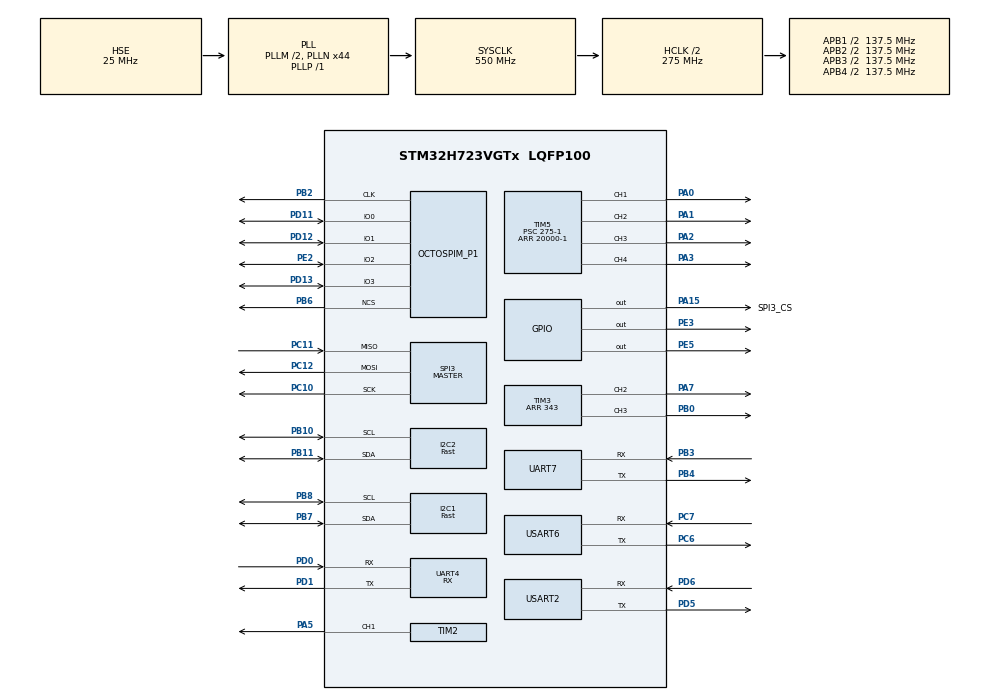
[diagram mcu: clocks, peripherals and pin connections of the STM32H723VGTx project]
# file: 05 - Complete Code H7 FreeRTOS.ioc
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CORTEX_M7.default_mode_Activation=1
Dma.I2C1_RX.2.Direction=DMA_PERIPH_TO_MEMORY
Dma.I2C1_RX.2.EventEnable=DISABLE
Dma.I2C1_RX.2.FIFOMode=DMA_FIFOMODE_DISABLE
Dma.I2C1_RX.2.Instance=DMA1_Stream0
Dma.I2C1_RX.2.MemDataAlignment=DMA_MDATAALIGN_BYTE
Dma.I2C1_RX.2.MemInc=DMA_MINC_ENABLE
Dma.I2C1_RX.2.Mode=DMA_NORMAL
Dma.I2C1_RX.2.PeriphDataAlignment=DMA_PDATAALIGN_BYTE
Dma.I2C1_RX.2.PeriphInc=DMA_PINC_DISABLE
Dma.I2C1_RX.2.Polarity=HAL_DMAMUX_REQ_GEN_RISING
Dma.I2C1_RX.2.Priority=DMA_PRIORITY_LOW
Dma.I2C1_RX.2.RequestNumber=1
Dma.I2C1_RX.2.SignalID=NONE
Dma.I2C1_RX.2.SyncEnable=DISABLE
Dma.I2C1_RX.2.SyncPolarity=HAL_DMAMUX_SYNC_NO_EVENT
Dma.I2C1_RX.2.SyncRequestNumber=1
Dma.I2C1_RX.2.SyncSignalID=NONE
Dma.I2C1_TX.3.Direction=DMA_MEMORY_TO_PERIPH
Dma.I2C1_TX.3.EventEnable=DISABLE
Dma.I2C1_TX.3.FIFOMode=DMA_FIFOMODE_DISABLE
Dma.I2C1_TX.3.Instance=DMA1_Stream1
Dma.I2C1_TX.3.MemDataAlignment=DMA_MDATAALIGN_BYTE
Dma.I2C1_TX.3.MemInc=DMA_MINC_ENABLE
Dma.I2C1_TX.3.Mode=DMA_NORMAL
Dma.I2C1_TX.3.PeriphDataAlignment=DMA_PDATAALIGN_BYTE
Dma.I2C1_TX.3.PeriphInc=DMA_PINC_DISABLE
Dma.I2C1_TX.3.Polarity=HAL_DMAMUX_REQ_GEN_RISING
Dma.I2C1_TX.3.Priority=DMA_PRIORITY_LOW
Dma.I2C1_TX.3.RequestNumber=1
Dma.I2C1_TX.3.SignalID=NONE
Dma.I2C1_TX.3.SyncEnable=DISABLE
Dma.I2C1_TX.3.SyncPolarity=HAL_DMAMUX_SYNC_NO_EVENT
Dma.I2C1_TX.3.SyncRequestNumber=1
Dma.I2C1_TX.3.SyncSignalID=NONE
Dma.I2C2_RX.6.Direction=DMA_PERIPH_TO_MEMORY
Dma.I2C2_RX.6.EventEnable=DISABLE
Dma.I2C2_RX.6.FIFOMode=DMA_FIFOMODE_DISABLE
Dma.I2C2_RX.6.Instance=DMA1_Stream6
Dma.I2C2_RX.6.MemDataAlignment=DMA_MDATAALIGN_BYTE
Dma.I2C2_RX.6.MemInc=DMA_MINC_ENABLE
Dma.I2C2_RX.6.Mode=DMA_NORMAL
Dma.I2C2_RX.6.PeriphDataAlignment=DMA_PDATAALIGN_BYTE
Dma.I2C2_RX.6.PeriphInc=DMA_PINC_DISABLE
Dma.I2C2_RX.6.Polarity=HAL_DMAMUX_REQ_GEN_RISING
Dma.I2C2_RX.6.Priority=DMA_PRIORITY_LOW
Dma.I2C2_RX.6.RequestNumber=1
Dma.I2C2_RX.6.SignalID=NONE
Dma.I2C2_RX.6.SyncEnable=DISABLE
Dma.I2C2_RX.6.SyncPolarity=HAL_DMAMUX_SYNC_NO_EVENT
Dma.I2C2_RX.6.SyncRequestNumber=1
Dma.I2C2_RX.6.SyncSignalID=NONE
Dma.I2C2_TX.7.Direction=DMA_MEMORY_TO_PERIPH
Dma.I2C2_TX.7.EventEnable=DISABLE
Dma.I2C2_TX.7.FIFOMode=DMA_FIFOMODE_DISABLE
Dma.I2C2_TX.7.Instance=DMA1_Stream7
Dma.I2C2_TX.7.MemDataAlignment=DMA_MDATAALIGN_BYTE
Dma.I2C2_TX.7.MemInc=DMA_MINC_ENABLE
Dma.I2C2_TX.7.Mode=DMA_NORMAL
Dma.I2C2_TX.7.PeriphDataAlignment=DMA_PDATAALIGN_BYTE
Dma.I2C2_TX.7.PeriphInc=DMA_PINC_DISABLE
Dma.I2C2_TX.7.Polarity=HAL_DMAMUX_REQ_GEN_RISING
Dma.I2C2_TX.7.Priority=DMA_PRIORITY_LOW
Dma.I2C2_TX.7.RequestNumber=1
Dma.I2C2_TX.7.SignalID=NONE
Dma.I2C2_TX.7.SyncEnable=DISABLE
Dma.I2C2_TX.7.SyncPolarity=HAL_DMAMUX_SYNC_NO_EVENT
Dma.I2C2_TX.7.SyncRequestNumber=1
Dma.I2C2_TX.7.SyncSignalID=NONE
Dma.Request0=SPI3_RX
Dma.Request1=SPI3_TX
Dma.Request2=I2C1_RX
Dma.Request3=I2C1_TX
Dma.Request4=TIM3_CH2
Dma.Request5=TIM3_CH3
Dma.Request6=I2C2_RX
Dma.Request7=I2C2_TX
Dma.SPI3_RX.0.Direction=DMA_PERIPH_TO_MEMORY
Dma.SPI3_RX.0.EventEnable=DISABLE
Dma.SPI3_RX.0.FIFOMode=DMA_FIFOMODE_DISABLE
Dma.SPI3_RX.0.Instance=DMA1_Stream2
Dma.SPI3_RX.0.MemDataAlignment=DMA_MDATAALIGN_BYTE
Dma.SPI3_RX.0.MemInc=DMA_MINC_ENABLE
Dma.SPI3_RX.0.Mode=DMA_NORMAL
Dma.SPI3_RX.0.PeriphDataAlignment=DMA_PDATAALIGN_BYTE
Dma.SPI3_RX.0.PeriphInc=DMA_PINC_DISABLE
Dma.SPI3_RX.0.Polarity=HAL_DMAMUX_REQ_GEN_RISING
Dma.SPI3_RX.0.Priority=DMA_PRIORITY_LOW
Dma.SPI3_RX.0.RequestNumber=1
Dma.SPI3_RX.0.SignalID=NONE
Dma.SPI3_RX.0.SyncEnable=DISABLE
Dma.SPI3_RX.0.SyncPolarity=HAL_DMAMUX_SYNC_NO_EVENT
Dma.SPI3_RX.0.SyncRequestNumber=1
Dma.SPI3_RX.0.SyncSignalID=NONE
Dma.SPI3_TX.1.Direction=DMA_MEMORY_TO_PERIPH
Dma.SPI3_TX.1.EventEnable=DISABLE
Dma.SPI3_TX.1.FIFOMode=DMA_FIFOMODE_DISABLE
Dma.SPI3_TX.1.Instance=DMA1_Stream3
Dma.SPI3_TX.1.MemDataAlignment=DMA_MDATAALIGN_BYTE
Dma.SPI3_TX.1.MemInc=DMA_MINC_ENABLE
Dma.SPI3_TX.1.Mode=DMA_NORMAL
Dma.SPI3_TX.1.PeriphDataAlignment=DMA_PDATAALIGN_BYTE
Dma.SPI3_TX.1.PeriphInc=DMA_PINC_DISABLE
Dma.SPI3_TX.1.Polarity=HAL_DMAMUX_REQ_GEN_RISING
Dma.SPI3_TX.1.Priority=DMA_PRIORITY_LOW
Dma.SPI3_TX.1.RequestNumber=1
Dma.SPI3_TX.1.SignalID=NONE
Dma.SPI3_TX.1.SyncEnable=DISABLE
Dma.SPI3_TX.1.SyncPolarity=HAL_DMAMUX_SYNC_NO_EVENT
Dma.SPI3_TX.1.SyncRequestNumber=1
Dma.SPI3_TX.1.SyncSignalID=NONE
Dma.TIM3_CH2.4.Direction=DMA_MEMORY_TO_PERIPH
Dma.TIM3_CH2.4.EventEnable=DISABLE
Dma.TIM3_CH2.4.FIFOMode=DMA_FIFOMODE_DISABLE
Dma.TIM3_CH2.4.Instance=DMA1_Stream4
Dma.TIM3_CH2.4.MemDataAlignment=DMA_MDATAALIGN_WORD
Dma.TIM3_CH2.4.MemInc=DMA_MINC_ENABLE
Dma.TIM3_CH2.4.Mode=DMA_NORMAL
Dma.TIM3_CH2.4.PeriphDataAlignment=DMA_PDATAALIGN_WORD
Dma.TIM3_CH2.4.PeriphInc=DMA_PINC_DISABLE
Dma.TIM3_CH2.4.Polarity=HAL_DMAMUX_REQ_GEN_RISING
Dma.TIM3_CH2.4.Priority=DMA_PRIORITY_LOW
Dma.TIM3_CH2.4.RequestNumber=1
Dma.TIM3_CH2.4.SignalID=NONE
Dma.TIM3_CH2.4.SyncEnable=DISABLE
Dma.TIM3_CH2.4.SyncPolarity=HAL_DMAMUX_SYNC_NO_EVENT
Dma.TIM3_CH2.4.SyncRequestNumber=1
Dma.TIM3_CH2.4.SyncSignalID=NONE
Dma.TIM3_CH3.5.Direction=DMA_MEMORY_TO_PERIPH
Dma.TIM3_CH3.5.EventEnable=DISABLE
Dma.TIM3_CH3.5.FIFOMode=DMA_FIFOMODE_DISABLE
Dma.TIM3_CH3.5.Instance=DMA1_Stream5
Dma.TIM3_CH3.5.MemDataAlignment=DMA_MDATAALIGN_WORD
Dma.TIM3_CH3.5.MemInc=DMA_MINC_ENABLE
Dma.TIM3_CH3.5.Mode=DMA_NORMAL
Dma.TIM3_CH3.5.PeriphDataAlignment=DMA_PDATAALIGN_WORD
Dma.TIM3_CH3.5.PeriphInc=DMA_PINC_DISABLE
Dma.TIM3_CH3.5.Polarity=HAL_DMAMUX_REQ_GEN_RISING
Dma.TIM3_CH3.5.Priority=DMA_PRIORITY_LOW
Dma.TIM3_CH3.5.RequestNumber=1
Dma.TIM3_CH3.5.SignalID=NONE
Dma.TIM3_CH3.5.SyncEnable=DISABLE
Dma.TIM3_CH3.5.SyncPolarity=HAL_DMAMUX_SYNC_NO_EVENT
Dma.TIM3_CH3.5.SyncRequestNumber=1
Dma.TIM3_CH3.5.SyncSignalID=NONE
FREERTOS.Tasks01=defaultTask,24,128,StartDefaultTask,Default,NULL,Dynamic,NULL,NULL;Task2,24,128,Task2_init,Default,NULL,Dynamic,NULL,NULL
FREERTOS.configUSE_NEWLIB_REENTRANT=1
I2C1.I2C_Speed_Mode=I2C_Fast
I2C1.Timing=0x00D049FB
I2C2.I2C_Speed_Mode=I2C_Fast
I2C2.Timing=0x00D049FB
Mcu.Family=STM32H7
Mcu.Name=STM32H723VGTx
Mcu.Package=LQFP100
NVIC.DMA1_Stream0_IRQn=true\:5\:0\:false\:false\:true\:true\:false\:true\:true
NVIC.DMA1_Stream1_IRQn=true\:5\:0\:false\:false\:true\:true\:false\:true\:true
NVIC.DMA1_Stream2_IRQn=true\:5\:0\:false\:false\:true\:true\:false\:true\:true
NVIC.DMA1_Stream3_IRQn=true\:5\:0\:false\:false\:true\:true\:false\:true\:true
NVIC.DMA1_Stream4_IRQn=true\:5\:0\:false\:false\:true\:true\:false\:true\:true
NVIC.DMA1_Stream5_IRQn=true\:5\:0\:false\:false\:true\:false\:false\:true\:true
NVIC.DMA1_Stream6_IRQn=true\:5\:0\:false\:false\:true\:true\:false\:true\:true
NVIC.DMA1_Stream7_IRQn=true\:5\:0\:false\:false\:true\:true\:false\:true\:true
NVIC.I2C1_ER_IRQn=true\:5\:0\:false\:false\:true\:true\:true\:true\:true
NVIC.I2C1_EV_IRQn=true\:5\:0\:false\:false\:true\:true\:true\:true\:true
NVIC.I2C2_ER_IRQn=true\:5\:0\:false\:false\:true\:true\:true\:true\:true
NVIC.I2C2_EV_IRQn=true\:5\:0\:false\:false\:true\:true\:true\:true\:true
NVIC.PriorityGroup=NVIC_PRIORITYGROUP_4
NVIC.SPI3_IRQn=true\:5\:0\:false\:false\:true\:true\:false\:true\:true
NVIC.TIM1_UP_IRQn=true\:15\:0\:false\:false\:true\:false\:false\:true\:true
NVIC.TIM3_IRQn=true\:5\:0\:false\:false\:true\:true\:true\:true\:true
NVIC.TimeBase=TIM1_UP_IRQn
NVIC.TimeBaseIP=TIM1
NVIC.UART4_IRQn=true\:5\:0\:false\:false\:true\:true\:true\:true\:true
NVIC.UART7_IRQn=true\:5\:0\:false\:false\:true\:true\:true\:true\:true
NVIC.USART6_IRQn=true\:5\:0\:false\:false\:true\:true\:true\:true\:true
OCTOSPI1.ChipSelectHighTime=2
OCTOSPI1.ClockMode=HAL_OSPI_CLOCK_MODE_3
OCTOSPI1.ClockPrescaler=3-1
OCTOSPI1.DeviceSize=23
OCTOSPI1.SampleShifting=HAL_OSPI_SAMPLE_SHIFTING_HALFCYCLE
PA0.Signal=S_TIM5_CH1
PA1.Signal=S_TIM5_CH2
PA15(JTDI).GPIO_Label=SPI3_CS
PA15(JTDI).PinState=GPIO_PIN_SET
PA15(JTDI).Signal=GPIO_Output
PA2.Signal=S_TIM5_CH3
PA3.Signal=S_TIM5_CH4
PA5.Signal=S_TIM2_CH1_ETR
PA7.Signal=S_TIM3_CH2
PB0.Signal=S_TIM3_CH3
PB10.Mode=I2C
PB10.Signal=I2C2_SCL
PB11.Mode=I2C
PB11.Signal=I2C2_SDA
PB2.Mode=O1_P1_CLK
PB2.Signal=OCTOSPIM_P1_CLK
PB3(JTDO/TRACESWO).Mode=Asynchronous
PB3(JTDO/TRACESWO).Signal=UART7_RX
PB4(NJTRST).Mode=Asynchronous
PB4(NJTRST).Signal=UART7_TX
PB6.Mode=OCTOSPI1_Port1_NCS
PB6.Signal=OCTOSPIM_P1_NCS
PB7.Mode=I2C
PB7.Signal=I2C1_SDA
PB8.Mode=I2C
PB8.Signal=I2C1_SCL
PC10.Mode=Full_Duplex_Master
PC10.Signal=SPI3_SCK
PC11.Mode=Full_Duplex_Master
PC11.Signal=SPI3_MISO
PC12.Mode=Full_Duplex_Master
PC12.Signal=SPI3_MOSI
PC6.Mode=Asynchronous
PC6.Signal=USART6_TX
PC7.Mode=Asynchronous
PC7.Signal=USART6_RX
PD0.Mode=Asynchronous
PD0.Signal=UART4_RX
PD1.Mode=Asynchronous
PD1.Signal=UART4_TX
PD11.Mode=OCTOSPI1_IOL_Port1L
PD11.Signal=OCTOSPIM_P1_IO0
PD12.Mode=OCTOSPI1_IOL_Port1L
PD12.Signal=OCTOSPIM_P1_IO1
PD13.Mode=OCTOSPI1_IOL_Port1L
PD13.Signal=OCTOSPIM_P1_IO3
PD5.Mode=Asynchronous
PD5.Signal=USART2_TX
PD6.Mode=Asynchronous
PD6.Signal=USART2_RX
PE2.Mode=OCTOSPI1_IOL_Port1L
PE2.Signal=OCTOSPIM_P1_IO2
PE3.Signal=GPIO_Output
PE5.Signal=GPIO_Output
PH0-OSC_IN.Mode=HSE-External-Oscillator
PH0-OSC_IN.Signal=RCC_OSC_IN
PH1-OSC_OUT.Mode=HSE-External-Oscillator
PH1-OSC_OUT.Signal=RCC_OSC_OUT
ProjectManager.HeapSize=0x200
ProjectManager.StackSize=0x400
ProjectManager.TargetToolchain=STM32CubeIDE
RCC.ADCFreq_Value=50390625
RCC.APB1Freq_Value=137500000
RCC.APB2Freq_Value=137500000
RCC.APB3Freq_Value=137500000
RCC.APB4Freq_Value=137500000
RCC.CortexFreq_Value=550000000
RCC.D1PPRE=RCC_APB3_DIV2
RCC.D2PPRE1=RCC_APB1_DIV2
RCC.D2PPRE2=RCC_APB2_DIV2
RCC.D3PPRE=RCC_APB4_DIV2
RCC.DIVM1=2
RCC.DIVN1=44
RCC.DIVP1=1
RCC.DIVQ1=3
RCC.HCLKFreq_Value=275000000
RCC.HPRE=RCC_HCLK_DIV2
RCC.PLL2FRACN=0
RCC.PLL3FRACN=0
RCC.PLLFRACN=0
RCC.PLLSourceVirtual=RCC_PLLSOURCE_HSE
RCC.SYSCLKFreq_VALUE=550000000
RCC.SYSCLKSource=RCC_SYSCLKSOURCE_PLLCLK
RCC.USBFreq_Value=183333333.33333334
SH.S_TIM2_CH1_ETR.0=TIM2_CH1,PWM Generation1 CH1
SH.S_TIM3_CH2.0=TIM3_CH2,PWM Generation2 CH2
SH.S_TIM3_CH3.0=TIM3_CH3,PWM Generation3 CH3
SH.S_TIM5_CH1.0=TIM5_CH1,PWM Generation1 CH1
SH.S_TIM5_CH2.0=TIM5_CH2,PWM Generation2 CH2
SH.S_TIM5_CH3.0=TIM5_CH3,PWM Generation3 CH3
SH.S_TIM5_CH4.0=TIM5_CH4,PWM Generation4 CH4
SPI3.BaudRatePrescaler=SPI_BAUDRATEPRESCALER_8
SPI3.CLKPhase=SPI_PHASE_2EDGE
SPI3.CLKPolarity=SPI_POLARITY_HIGH
SPI3.CalculateBaudRate=22.916666 MBits/s
SPI3.DataSize=SPI_DATASIZE_8BIT
SPI3.Direction=SPI_DIRECTION_2LINES
SPI3.Mode=SPI_MODE_MASTER
SPI3.VirtualType=VM_MASTER
TIM2.AutoReloadPreload=TIM_AUTORELOAD_PRELOAD_ENABLE
TIM2.Channel-PWM\ Generation1\ CH1=TIM_CHANNEL_1
TIM2.OCFastMode_PWM-PWM\ Generation1\ CH1=TIM_OCFAST_ENABLE
TIM2.Period=249
TIM2.Prescaler=546
TIM3.AutoReloadPreload=TIM_AUTORELOAD_PRELOAD_ENABLE
TIM3.Channel-PWM\ Generation2\ CH2=TIM_CHANNEL_2
TIM3.Channel-PWM\ Generation3\ CH3=TIM_CHANNEL_3
TIM3.Period=343
TIM5.AutoReloadPreload=TIM_AUTORELOAD_PRELOAD_ENABLE
TIM5.Channel-PWM\ Generation1\ CH1=TIM_CHANNEL_1
TIM5.Channel-PWM\ Generation2\ CH2=TIM_CHANNEL_2
TIM5.Channel-PWM\ Generation3\ CH3=TIM_CHANNEL_3
TIM5.Channel-PWM\ Generation4\ CH4=TIM_CHANNEL_4
TIM5.OCFastMode_PWM-PWM\ Generation1\ CH1=TIM_OCFAST_ENABLE
TIM5.OCFastMode_PWM-PWM\ Generation2\ CH2=TIM_OCFAST_ENABLE
TIM5.OCFastMode_PWM-PWM\ Generation3\ CH3=TIM_OCFAST_ENABLE
TIM5.OCFastMode_PWM-PWM\ Generation4\ CH4=TIM_OCFAST_ENABLE
TIM5.Period=20000-1
TIM5.Prescaler=275-1
TIM5.Pulse-PWM\ Generation1\ CH1=1000
TIM5.Pulse-PWM\ Generation2\ CH2=1000
TIM5.Pulse-PWM\ Generation3\ CH3=1000
TIM5.Pulse-PWM\ Generation4\ CH4=1000
UART4.Mode=MODE_RX
USART2.VirtualMode-Asynchronous=VM_ASYNC
USART6.VirtualMode=VM_ASYNC
VP_FREERTOS_VS_CMSIS_V2.Mode=CMSIS_V2
VP_MEMORYMAP_VS_MEMORYMAP.Mode=CurAppReg
VP_OCTOSPI1_VS_octo.Mode=octo_mode
VP_SYS_VS_tim1.Mode=TIM1
VP_TIM2_VS_ClockSourceINT.Mode=Internal
VP_TIM3_VS_ClockSourceINT.Mode=Internal
VP_TIM5_VS_ClockSourceINT.Mode=Internal
board=custom

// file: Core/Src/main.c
/* USER CODE BEGIN Header */
/**
  ******************************************************************************
  * @file           : main.c
  * @brief          : Main program body
  ******************************************************************************
  * @attention
  *
  * Copyright (c) 2025 STMicroelectronics.
  * All rights reserved.
  *
  * This software is licensed under terms that can be found in the LICENSE file
  * in the root directory of this software component.
  * If no LICENSE file comes with this software, it is provided AS-IS.
  *
  ******************************************************************************
  */
/* USER CODE END Header */
#include "main.h"
#include "cmsis_os.h"
#include "dma.h"
#include "i2c.h"
#include "octospi.h"
#include "spi.h"
#include "tim.h"
#include "usart.h"
#include "gpio.h"

/* USER CODE BEGIN Includes */
#include <stdio.h>
#include "../ICM42688P/icm42688p.h"
#include "hmc5883l.h"
#include "../LED/MAIN_BOARD_RGB/ws2812.h"
#include "targets.h"
#include "../BUZZER/buzzer.h"
#include "../EEPROM/eeprom.h"
#include "../PID/Double Loop PID/pid_controller.h"
#include "../RECEIVER/FS-iA6B/FS-iA6B.h"
/* USER CODE END Includes */

/* USER CODE BEGIN PTD */

/* *********** USART6 printf function code ************ */

int _write(int file, char* p, int len)
{
    for (int i = 0; i < len; i++) {
        while (!LL_USART_IsActiveFlag_TXE(USART6)) {
            if (LL_USART_IsActiveFlag_ORE(USART6) || LL_USART_IsActiveFlag_FE(USART6)) {
                LL_USART_ClearFlag_ORE(USART6);
                LL_USART_ClearFlag_FE(USART6);
                return -1; // Indicate error
            }
        }
        LL_USART_TransmitData8(USART6, *(p + i));
    }
    while (!LL_USART_IsActiveFlag_TC(USART6)) {}
    return len;
}

/* *********** USART6 printf function code ************ */

/* USER CODE END PTD */

/* USER CODE BEGIN PD */

extern SPI_HandleTypeDef hspi3;
ICM42688P_HandleTypeDef icm;
ICM42688P_Data_t icmData;

extern I2C_HandleTypeDef hi2c1;  // Ensure hi2c1 is initialized by CubeMX
HMC5883L_Data_t magData;

volatile uint8_t sensors_ready = 0;
extern TIM_HandleTypeDef htim3;

/* USER CODE END PD */

/* USER CODE BEGIN PM */
unsigned char failsafe_flag = 0;
/* USER CODE END PM */

/* USER CODE BEGIN PV */

extern uint8_t uart6_rx_flag;
extern uint8_t uart6_rx_data;
extern uint8_t uart4_rx_flag;
extern uint8_t uart4_rx_data;
extern uint8_t ibus_rx_buf[32];
extern uint8_t ibus_rx_cplt_flag;
extern uint8_t uart7_rx_data;
uint8_t telemetry_tx_buf[20];

extern DMA_HandleTypeDef WS2812_DMA; // DMA handle
extern volatile uint8_t data_sent_flag; // Flag from ws2812.c

void eeprom_startup(void);

float eeprom_pid_read[3];
float eeprom_gyro_read[3];
float eeprom_accel_read[3];
float eeprom_mag_read[3];
DualPID_t eeprom_roll_pid_read;
DualPID_t eeprom_pitch_pid_read;
PID_t eeprom_yaw_rate_pid_read;

AircraftLights_t aircraft_lights;

RuntimeDualPID_t roll_pid;
RuntimeDualPID_t pitch_pid;
RuntimePID_t yaw_rate_pid;

HAL_StatusTypeDef status;
float pressure, temperature, altitude;
float ground_pressure = 101325.0f;

unsigned char motor_arming_flag = 0;
unsigned short iBus_SwA_Prev = 0;
unsigned short iBus_rx_cnt = 0;
uint16_t ccr[4];
unsigned short ccr1, ccr2, ccr3, ccr4;

/* USER CODE END PV */

void SystemClock_Config(void);
static void MPU_Config(void);
void MX_FREERTOS_Init(void);
/* USER CODE BEGIN PFP */

int Is_iBus_Throttle_Min(void);
int Is_iBus_Throttle_Armed(void);
void ESC_Calibration(void);
int Is_iBus_Received(void);

/* USER CODE END PFP */

int main(void)
{

  /* MPU Configuration--------------------------------------------------------*/
  MPU_Config();

  /* MCU Configuration--------------------------------------------------------*/

  /* Reset of all peripherals, Initializes the Flash interface and the Systick. */
  HAL_Init();

  /* Configure the system clock */
  SystemClock_Config();

  /* Initialize all configured peripherals */
  MX_GPIO_Init();
  MX_DMA_Init();
  MX_USART6_UART_Init();
  MX_SPI3_Init();
  MX_I2C1_Init();
  MX_TIM3_Init();
  MX_TIM2_Init();
  MX_OCTOSPI1_Init();
  MX_I2C2_Init();
  MX_UART4_Init();
  MX_TIM5_Init();
  MX_UART7_Init();
  MX_USART2_UART_Init();
  /* USER CODE BEGIN 2 */

  StartupTone();

  LL_USART_EnableIT_RXNE(USART6);
  LL_USART_EnableIT_RXNE_RXFNE(UART4);

  HAL_Delay(500);

  eeprom_startup();

  // Initialize PID controllers
  pid_init(&roll_pid, &pitch_pid, &yaw_rate_pid,
		  &eeprom_roll_pid_read, &eeprom_pitch_pid_read, &eeprom_yaw_rate_pid_read);

  /* *********** ESC Startup Calibration ************ */
  HAL_Delay(3000);
  HAL_TIM_PWM_Start(&htim5, TIM_CHANNEL_1);
  HAL_TIM_PWM_Start(&htim5, TIM_CHANNEL_2);
  HAL_TIM_PWM_Start(&htim5, TIM_CHANNEL_3);
  HAL_TIM_PWM_Start(&htim5, TIM_CHANNEL_4);
  /* *********** ESC Startup Calibration END ************ */

  /* *********** iBus Calibration Check ************ */
  while (Is_iBus_Received() == 0) {
	  Buzzer_On(3000);
	  HAL_Delay(200);
	  Buzzer_Off();
	  HAL_Delay(200);
  }
  if (iBus.SwC == 2000) {
	  Buzzer_On(1500);
	  HAL_Delay(200);
	  Buzzer_On(2000);
	  HAL_Delay(200);
	  Buzzer_On(1500);
	  HAL_Delay(200);
	  Buzzer_On(2000);
	  HAL_Delay(200);
	  Buzzer_Off();
	  ESC_Calibration();
	  while (iBus.SwC != 1000) {
		  Is_iBus_Received();
		  Buzzer_On(1500);
		  HAL_Delay(200);
		  Buzzer_On(2000);
		  HAL_Delay(200);
		  Buzzer_Off();
	  }
  }
  /* *********** iBus Calibration Check END ************ */

  /* *********** iBus Throttle Check ************ */
  while (Is_iBus_Throttle_Min() == 0 || iBus.SwA == 2000) {
	  Buzzer_On(343);
	  HAL_Delay(70);
	  Buzzer_Off();
	  HAL_Delay(70);
  }
  Buzzer_On(1092);
  HAL_Delay(100);
  Buzzer_On(592);
  HAL_Delay(100);
  Buzzer_On(292);
  HAL_Delay(100);
  Buzzer_Off();
  /* *********** iBus Throttle Check END ************ */

//  LL_TIM_EnableCounter(TIM7);
//  LL_TIM_EnableIT_UPDATE(TIM7);

  /* === Initialize sensors here === */

  HMC5883L_Init();
  uint8_t hmc_id = HMC5883L_ReadReg(HMC5883L_ID_A);
  printf("HMC5883L ID: %c\n", hmc_id);

  WS2812_Init(&htim3);

  /* USER CODE END 2 */

  /* Init scheduler */
  osKernelInitialize();  /* Call init function for freertos objects (in cmsis_os2.c) */
  MX_FREERTOS_Init();

  /* Start scheduler */
  osKernelStart();

  /* We should never get here as control is now taken by the scheduler */

  /* Infinite loop */
  while (1)
  {

  }
}

void SystemClock_Config(void)
{
  RCC_OscInitTypeDef RCC_OscInitStruct = {0};
  RCC_ClkInitTypeDef RCC_ClkInitStruct = {0};

  /** Supply configuration update enable
  */
  HAL_PWREx_ConfigSupply(PWR_LDO_SUPPLY);

  /** Configure the main internal regulator output voltage
  */
  __HAL_PWR_VOLTAGESCALING_CONFIG(PWR_REGULATOR_VOLTAGE_SCALE0);

  while(!__HAL_PWR_GET_FLAG(PWR_FLAG_VOSRDY)) {}

  /** Initializes the RCC Oscillators according to the specified parameters
  * in the RCC_OscInitTypeDef structure.
  */
  RCC_OscInitStruct.OscillatorType = RCC_OSCILLATORTYPE_HSE;
  RCC_OscInitStruct.HSEState = RCC_HSE_ON;
  RCC_OscInitStruct.PLL.PLLState = RCC_PLL_ON;
  RCC_OscInitStruct.PLL.PLLSource = RCC_PLLSOURCE_HSE;
  RCC_OscInitStruct.PLL.PLLM = 2;
  RCC_OscInitStruct.PLL.PLLN = 44;
  RCC_OscInitStruct.PLL.PLLP = 1;
  RCC_OscInitStruct.PLL.PLLQ = 3;
  RCC_OscInitStruct.PLL.PLLR = 2;
  RCC_OscInitStruct.PLL.PLLRGE = RCC_PLL1VCIRANGE_3;
  RCC_OscInitStruct.PLL.PLLVCOSEL = RCC_PLL1VCOWIDE;
  RCC_OscInitStruct.PLL.PLLFRACN = 0;
  if (HAL_RCC_OscConfig(&RCC_OscInitStruct) != HAL_OK)
  {
    Error_Handler();
  }

  /** Initializes the CPU, AHB and APB buses clocks
  */
  RCC_ClkInitStruct.ClockType = RCC_CLOCKTYPE_HCLK|RCC_CLOCKTYPE_SYSCLK
                              |RCC_CLOCKTYPE_PCLK1|RCC_CLOCKTYPE_PCLK2
                              |RCC_CLOCKTYPE_D3PCLK1|RCC_CLOCKTYPE_D1PCLK1;
  RCC_ClkInitStruct.SYSCLKSource = RCC_SYSCLKSOURCE_PLLCLK;
  RCC_ClkInitStruct.SYSCLKDivider = RCC_SYSCLK_DIV1;
  RCC_ClkInitStruct.AHBCLKDivider = RCC_HCLK_DIV2;
  RCC_ClkInitStruct.APB3CLKDivider = RCC_APB3_DIV2;
  RCC_ClkInitStruct.APB1CLKDivider = RCC_APB1_DIV2;
  RCC_ClkInitStruct.APB2CLKDivider = RCC_APB2_DIV2;
  RCC_ClkInitStruct.APB4CLKDivider = RCC_APB4_DIV2;

  if (HAL_RCC_ClockConfig(&RCC_ClkInitStruct, FLASH_LATENCY_3) != HAL_OK)
  {
    Error_Handler();
  }
}

/* USER CODE BEGIN 4 */

void send_deftask(void)
{
	printf("Hello from deftask\r\n");
//	HAL_GPIO_TogglePin(GPIOE, GPIO_PIN_3);
}

void send_task2(void)
{
//	HAL_GPIO_TogglePin(GPIOx, GPIO_Pin)
}

void send_task3(void)
{
	printf("Hello from Task3\r\n");
}

void run_imu(void) {

	if (!sensors_ready) return;

    // Read sensor data directly
    ICM42688P_ReadData(&icm, &icmData);

    // Print data (or send to other tasks / filters)
    printf("Accel: %.2f %.2f %.2f | Gyro: %.2f %.2f %.2f | Temp: %.2f\r\n",
           icmData.accel[0], icmData.accel[1], icmData.accel[2],
           icmData.gyro[0], icmData.gyro[1], icmData.gyro[2],
           icmData.temperature);
}

void run_mag(void)
{

	if (!sensors_ready) return;

    HMC5883L_ProcessMagData();   // Reads raw data into hmc_data
    Compass_Data_t *compass = HMC5883L_GetCompassData();

    printf("Mag: %.2f %.2f %.2f | Heading: %.2f°\r\n",
           hmc_data.mag_x, hmc_data.mag_y, hmc_data.mag_z,
           compass->heading);
}

void sensor_init(void){
    // === Initialize ICM42688P ===
	ICM42688P_Init(&icm, &hspi3);
	printf("ICM42688P initialization called.\r\n");

    // === Initialize HMC5883L ===
    HMC5883L_Init();
    uint8_t hmc_id = HMC5883L_ReadReg(HMC5883L_ID_A);
    printf("HMC5883L ID: %c\r\n", hmc_id);

    WS2812_Init(&WS2812_TIMER);

    printf("Sensor initialization complete. Deleting InitTask...\r\n");

    sensors_ready = 1;

    system_startup();

}

void system_startup(void) {

	while (Is_iBus_Throttle_Armed() == 0) {
//		calibration_task();
//		if (is_cmd_mode()) {
//			continue;
//		}

	}

	/* *********** iBus Throttle Check ************ */
	while (Is_iBus_Throttle_Min() == 0 || iBus.SwA != 2000) {
		Buzzer_On(1200);
		HAL_Delay(300);
		Buzzer_Off();
		HAL_Delay(70);
	}
	Buzzer_On(1092);
	HAL_Delay(100);
	Buzzer_On(592);
	HAL_Delay(100);
	Buzzer_On(292);
	HAL_Delay(100);
	Buzzer_Off();
	/* *********** iBus Throttle Check END ************ */

}

void eeprom_startup(void){

	if (EEPROM_Init() != W25Qxx_OK) {
		printf("EEPROM Init Failed\r\n");
		while(1)
		{
			Buzzer_On(500);
			HAL_Delay(200);
			Buzzer_Off();
			HAL_Delay(200);
			Buzzer_On(500);
			HAL_Delay(200);
			Buzzer_Off();
			HAL_Delay(200);
		}
		Error_Handler();
	}

	DroneConfig_t config;

	printf("================= Connecting to EEPROM =================\n"
			"\r\n");

	if (EEPROM_ReadConfig(&config) == W25Qxx_OK) {
		printf("Config Loaded: Flight Mode %d, PID P: %.2f\r\n",
				config.flight_mode, config.pid[0]);
	} else {
		printf("No valid config found, loading defaults\r\n");
		DroneConfig_t default_config = {
				.accel_cal = {0.030256f, -0.026638f, -0.122559f},
				.gyro_cal = {0.016646f, 0.173536f, -0.355303f},
				.mag_cal = {1.50f, -1.50f, 0.50f},
				.pid = {1.0f, 0.1f, 0.5f},
				.flight_mode = 0,
				.gps_lat = 0.0f,
				.gps_lon = 0.0f,
				.gps_alt = 0.0f,
				.roll_pid = {
						.out = {0.62f, 0.01f, 0.10f},
						.in = {0.30f, 0.07f, 0.010f}
				},
				.pitch_pid = {
						.out = {0.62f, 0.01f, 0.10f},
						.in = {0.30f, 0.07f, 0.010f}
				},
				.yaw_rate_pid = {0.2f, 0.01f, 0.003f},
				.lights = {
						.rgb = {{255, 0, 0}, {0, 255, 0}, {0, 0, 255}, {255, 255, 255}},
						.mode = 0
				},
				.crc = 0
		};
		default_config.crc = CalculateCRC32((uint8_t*)&default_config, sizeof(DroneConfig_t) - sizeof(uint32_t));
		if (EEPROM_WriteConfig(&default_config) != W25Qxx_OK) {
			printf("Failed to write default config\r\n");
			Error_Handler();
		}
		printf("Default config written and verified\r\n");
	}

	if (EEPROM_GetPID(eeprom_pid_read) == W25Qxx_OK) {
		printf("EEPROM PID read: P=%.2f, I=%.2f, D=%.2f\r\n",
				eeprom_pid_read[0], eeprom_pid_read[1], eeprom_pid_read[2]);
	} else {
		printf("Failed to read PID\r\n");
	}

	if (EEPROM_GetGyroCalibration(eeprom_gyro_read) == W25Qxx_OK) {
		printf("EEPROM Gyro read: X=%.2f, Y=%.2f, Z=%.2f\r\n",
				eeprom_gyro_read[0], eeprom_gyro_read[1], eeprom_gyro_read[2]);
	} else {
		printf("Failed to read EEPROM Gyro Data\r\n");
	}

	if (EEPROM_GetAccelCalibration(eeprom_accel_read) == W25Qxx_OK) {
		printf("EEPROM Accel read: X=%.2f, Y=%.2f, Z=%.2f\r\n",
				eeprom_accel_read[0], eeprom_accel_read[1], eeprom_accel_read[2]);
	} else {
		printf("Failed to read EEPROM Accel Data\r\n");
	}

	if (EEPROM_GetMagCalibration(eeprom_mag_read) == W25Qxx_OK) {
		printf("EEPROM Mag read: X=%.2f, Y=%.2f, Z=%.2f\r\n",
				eeprom_mag_read[0], eeprom_mag_read[1], eeprom_mag_read[2]);
	} else {
		printf("Failed to read EEPROM Mag Data\r\n");
	}

	if (EEPROM_GetRollPID(&eeprom_roll_pid_read) == W25Qxx_OK) {
		printf("Roll PID: Out P=%.3f, I=%.3f, D=%.3f, In P=%.3f, I=%.3f, D=%.3f\r\n",
				eeprom_roll_pid_read.out.kp, eeprom_roll_pid_read.out.ki, eeprom_roll_pid_read.out.kd,
				eeprom_roll_pid_read.in.kp, eeprom_roll_pid_read.in.ki, eeprom_roll_pid_read.in.kd);
	} else {
		printf("Failed to read Roll PID\r\n");
	}

	if (EEPROM_GetPitchPID(&eeprom_pitch_pid_read) == W25Qxx_OK) {
		printf("Pitch PID: Out P=%.3f, I=%.3f, D=%.3f, In P=%.3f, I=%.3f, D=%.3f\r\n",
				eeprom_pitch_pid_read.out.kp, eeprom_pitch_pid_read.out.ki, eeprom_pitch_pid_read.out.kd,
				eeprom_pitch_pid_read.in.kp, eeprom_pitch_pid_read.in.ki, eeprom_pitch_pid_read.in.kd);
	} else {
		printf("Failed to read Pitch PID\r\n");
	}

	if (EEPROM_GetYawRatePID(&eeprom_yaw_rate_pid_read) == W25Qxx_OK) {
		printf("Yaw Rate PID: P=%.3f, I=%.3f, D=%.3f\r\n",
				eeprom_yaw_rate_pid_read.kp, eeprom_yaw_rate_pid_read.ki, eeprom_yaw_rate_pid_read.kd);
	} else {
		printf("Failed to read Yaw Rate PID\r\n");
	}

	if (EEPROM_GetAircraftLights(&aircraft_lights) == W25Qxx_OK) {
		printf("Lights: LED1(R=%d,G=%d,B=%d), LED2(R=%d,G=%d,B=%d), LED3(R=%d,G=%d,B=%d), LED4(R=%d,G=%d,B=%d), Mode=%d\r\n",
				aircraft_lights.rgb[0][0], aircraft_lights.rgb[0][1], aircraft_lights.rgb[0][2],
				aircraft_lights.rgb[1][0], aircraft_lights.rgb[1][1], aircraft_lights.rgb[1][2],
				aircraft_lights.rgb[2][0], aircraft_lights.rgb[2][1], aircraft_lights.rgb[2][2],
				aircraft_lights.rgb[3][0], aircraft_lights.rgb[3][1], aircraft_lights.rgb[3][2],
				aircraft_lights.mode);
	} else {
		printf("Failed to read Aircraft Lights\r\n");
	}

	printf("\r\n"
			"================= EEPROM Data Fetched =================\n"
			"\r\n");

}

int Is_iBus_Throttle_Min(void) {
    if (ibus_rx_cplt_flag == 1) {
        ibus_rx_cplt_flag = 0;
        if (iBus_Check_CHKSUM(&ibus_rx_buf[0], 32) == 1) {
            iBus_Parsing(&ibus_rx_buf[0], &iBus);
            if (iBus.LV < 1010)
                return 1;
        }
    }
    return 0;
}

void mixer_run(void) {

	// Motor mixing
	if (motor_arming_flag == 1 && failsafe_flag == 0) {
//		motor_mixing(roll_out, pitch_out, yaw_out, throttle, ccr);

		ccr1 = 1050 + ((iBus.LV - 1000) * 950) / 1000;
		ccr2 = 1050 + ((iBus.LV - 1000) * 950) / 1000;
		ccr3 = 1050 + ((iBus.LV - 1000) * 950) / 1000;
		ccr4 = 1050 + ((iBus.LV - 1000) * 950) / 1000;

		TIM5->CCR1 = ccr1;
		TIM5->CCR2 = ccr2;
		TIM5->CCR3 = ccr3;
		TIM5->CCR4 = ccr4;
	} else {
		TIM5->CCR1 = 1000;
		TIM5->CCR2 = 1000;
		TIM5->CCR3 = 1000;
		TIM5->CCR4 = 1000;
	}

	HAL_GPIO_TogglePin(GPIOE, GPIO_PIN_3);

	if (iBus.SwA == 2000 && iBus_SwA_Prev != 2000) {
		if (iBus.LV < 1010) {
			motor_arming_flag = 1;
		}
	}
	iBus_SwA_Prev = iBus.SwA;

	if (iBus.SwA != 2000) {
		motor_arming_flag = 0;
	}

	if (ibus_rx_cplt_flag == 1) {
		ibus_rx_cplt_flag = 0;
		if (iBus_Check_CHKSUM(&ibus_rx_buf[0], 32) == 1) {
			//			main_led(0, 0, 255, 0, 0.3);
			//			main_led(0, 0, 255, 0, 0.0);
			iBus_Parsing(&ibus_rx_buf[0], &iBus);
			iBus_rx_cnt++;
			if (iBus_isActiveFailsafe(&iBus) == 1) {
				failsafe_flag = 1;
				Buzzer_On(292);
				HAL_Delay(50);
				Buzzer_Off();
			} else {
				failsafe_flag = 0;
				Buzzer_Off();
			}
		}
	}

	if (failsafe_flag == 1 || failsafe_flag == 2) {
		Buzzer_On(292);
		HAL_Delay(50);
		Buzzer_Off();
	}

}

void FSiA6B_Print(void) {
	printf("%d\t%d\t%d\t%d\t%d\t%d\t%d\t%d\t%d\t%d\t\n",
			iBus.RH, iBus.RV, iBus.LV, iBus.LH, iBus.SwA, iBus.SwB, iBus.SwC, iBus.SwD, iBus.VrA, iBus.VrB);
}

void FailSafe_1000Hz(void) {

	if (iBus_rx_cnt == 0) {
		failsafe_flag = 2;
	}
	iBus_rx_cnt = 0;
}

int Is_iBus_Throttle_Armed(void) {
    if (ibus_rx_cplt_flag == 1) {
        ibus_rx_cplt_flag = 0;
        if (iBus_Check_CHKSUM(&ibus_rx_buf[0], 32) == 1) {
            iBus_Parsing(&ibus_rx_buf[0], &iBus);
            if (iBus.SwA >= 1900)
                return 1;
        }
    }
    return 0;
}

void ESC_Calibration(void) {
    TIM5->CCR1 = 2000;
    TIM5->CCR2 = 2000;
    TIM5->CCR3 = 2000;
    TIM5->CCR4 = 2000;
    main_led(0, 0, 255, 0, 0.1, 1);
    HAL_Delay(7000);
    TIM5->CCR1 = 1000;
    TIM5->CCR2 = 1000;
    TIM5->CCR3 = 1000;
    TIM5->CCR4 = 1000;
    main_led(0, 0, 255, 0, 0.1, 1);
    HAL_Delay(8000);
    main_led(0, 0, 255, 0, 0.1, 1);
}

int Is_iBus_Received(void) {
    if (ibus_rx_cplt_flag == 1) {
        ibus_rx_cplt_flag = 0;
        if (iBus_Check_CHKSUM(&ibus_rx_buf[0], 32) == 1) {
            iBus_Parsing(&ibus_rx_buf[0], &iBus);
            return 1;
        }
    }
    return 0;
}

void HAL_UART_RxCpltCallback(UART_HandleTypeDef *huart) {
    if (huart->Instance == UART7) {
        HAL_UART_Receive_IT(&huart7, &uart7_rx_data, 1);
    }
}

/* USER CODE END 4 */

 /* MPU Configuration */

void MPU_Config(void)
{
  MPU_Region_InitTypeDef MPU_InitStruct = {0};

  /* Disables the MPU */
  HAL_MPU_Disable();

  /** Initializes and configures the Region and the memory to be protected
  */
  MPU_InitStruct.Enable = MPU_REGION_ENABLE;
  MPU_InitStruct.Number = MPU_REGION_NUMBER0;
  MPU_InitStruct.BaseAddress = 0x0;
  MPU_InitStruct.Size = MPU_REGION_SIZE_4GB;
  MPU_InitStruct.SubRegionDisable = 0x87;
  MPU_InitStruct.TypeExtField = MPU_TEX_LEVEL0;
  MPU_InitStruct.AccessPermission = MPU_REGION_NO_ACCESS;
  MPU_InitStruct.DisableExec = MPU_INSTRUCTION_ACCESS_DISABLE;
  MPU_InitStruct.IsShareable = MPU_ACCESS_SHAREABLE;
  MPU_InitStruct.IsCacheable = MPU_ACCESS_NOT_CACHEABLE;
  MPU_InitStruct.IsBufferable = MPU_ACCESS_NOT_BUFFERABLE;

  HAL_MPU_ConfigRegion(&MPU_InitStruct);
  /* Enables the MPU */
  HAL_MPU_Enable(MPU_PRIVILEGED_DEFAULT);

}

void HAL_TIM_PeriodElapsedCallback(TIM_HandleTypeDef *htim)
{
  if (htim->Instance == TIM1)
  {
    HAL_IncTick();
  }
}

void Error_Handler(void)
{
  __disable_irq();
  while (1)
  {
  }
}

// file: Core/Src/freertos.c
/* USER CODE BEGIN Header */
/**
  ******************************************************************************
  * @file           : freertos.c
  * @brief          : Code for freertos applications
  ******************************************************************************
  * @attention
  *
  * Copyright (c) 2025 STMicroelectronics.
  * All rights reserved.
  *
  * This software is licensed under terms that can be found in the LICENSE file
  * in the root directory of this software component.
  * If no LICENSE file comes with this software, it is provided AS-IS.
  *
  ******************************************************************************
  */
/* USER CODE END Header */

#include "FreeRTOS.h"
#include "task.h"
#include "main.h"
#include "cmsis_os.h"

/* USER CODE BEGIN Includes */
#include <stdio.h>
#include "../ICM42688P/icm42688p.h"
#include "semphr.h"
#include "../LED/MAIN_BOARD_RGB/ws2812.h"
#include "../LED/AIRCRAFTLIGHTS/AircraftLights.h"
/* USER CODE END Includes */

/* USER CODE BEGIN PD */
SemaphoreHandle_t spiDmaSem;
SemaphoreHandle_t ws2812_dma_semaphore;
SemaphoreHandle_t aircraftlights_dma_semaphore;

void run_imu(void);
extern void run_imu(void);
extern void run_mag(void);
extern void sensor_init(void);
extern void eeprom_startup(void);
void InitTask(void *argument);
/* USER CODE END PD */

/* USER CODE BEGIN Variables */

/* --- Task3 (IMU Read Task) --- */
osThreadId_t Task_1khzHandle;
const osThreadAttr_t Task_1khz_attributes = {
  .name = "Task_1khz",
  .stack_size = 256 * 4,
  .priority = (osPriority_t) osPriorityAboveNormal,
};

osThreadId_t Task_100HzHandle;
const osThreadAttr_t Task_100Hz_attributes = {
  .name = "Task_100Hz",
  .stack_size = 256 * 4,
  .priority = (osPriority_t) osPriorityNormal5,
};

osThreadId_t Task_50HzHandle;
const osThreadAttr_t Task_50Hz_attributes = {
  .name = "Task_50Hz",
  .stack_size = 256 * 4,
  .priority = (osPriority_t) osPriorityNormal4,
};

/* --- InitTask (Initialization) --- */
osThreadId_t InitTaskHandle;
const osThreadAttr_t InitTask_attributes = {
  .name = "InitTask",
  .stack_size = 256 * 4,
  .priority = (osPriority_t) osPriorityHigh,
};

/* --- LedTask (WS2812 LED Task) --- */
osThreadId_t LedTaskHandle;
const osThreadAttr_t LedTask_attributes = {
  .name = "LedTask",
  .stack_size = 256 * 4,
  .priority = (osPriority_t) osPriorityNormal,
};

/* --- AircraftLights Task --- */
osThreadId_t AircraftLightsTaskHandle;
const osThreadAttr_t AircraftLightsTask_attributes = {
  .name = "AircraftLightsTask",
  .stack_size = 256 * 4,
  .priority = (osPriority_t) osPriorityBelowNormal,
};

/* USER CODE END Variables */
/* Definitions for defaultTask */
osThreadId_t defaultTaskHandle;
const osThreadAttr_t defaultTask_attributes = {
  .name = "defaultTask",
  .stack_size = 128 * 4,
  .priority = (osPriority_t) osPriorityNormal,
};
/* Definitions for Task2 */
osThreadId_t Task2Handle;
const osThreadAttr_t Task2_attributes = {
  .name = "Task2",
  .stack_size = 128 * 4,
  .priority = (osPriority_t) osPriorityNormal,
};

/* USER CODE BEGIN FunctionPrototypes */
void Task_1khz_init(void *argument);
void Task_100Hz_init(void *argument);
void Task_50Hz_init(void *argument);
void LedTask(void *argument);
void AircraftLightsTask(void *argument);
/* USER CODE END FunctionPrototypes */

void StartDefaultTask(void *argument);
void Task2_init(void *argument);

void MX_FREERTOS_Init(void); /* (MISRA C 2004 rule 8.1) */

void MX_FREERTOS_Init(void) {
  /* USER CODE BEGIN Init */
  InitTaskHandle = osThreadNew(InitTask, NULL, &InitTask_attributes);
  /* USER CODE END Init */

  /* USER CODE BEGIN RTOS_MUTEX */
  /* Add mutexes if required */
  /* USER CODE END RTOS_MUTEX */

  /* USER CODE BEGIN RTOS_SEMAPHORES */
  spiDmaSem = xSemaphoreCreateBinary();
  if (spiDmaSem == NULL) {
      Error_Handler();
  }

  ws2812_dma_semaphore = xSemaphoreCreateBinary();
  if (ws2812_dma_semaphore == NULL) {
      Error_Handler();
  }

  aircraftlights_dma_semaphore = xSemaphoreCreateBinary();
  if (aircraftlights_dma_semaphore == NULL) {
      Error_Handler();
  }
  /* USER CODE END RTOS_SEMAPHORES */

  /* USER CODE BEGIN RTOS_TIMERS */
  /* Start timers, add new ones if required */
  /* USER CODE END RTOS_TIMERS */

  /* USER CODE BEGIN RTOS_QUEUES */
  /* Add queues if required */
  /* USER CODE END RTOS_QUEUES */

  /* Create the thread(s) */
  /* creation of defaultTask */
  defaultTaskHandle = osThreadNew(StartDefaultTask, NULL, &defaultTask_attributes);

  /* creation of Task2 */
  Task2Handle = osThreadNew(Task2_init, NULL, &Task2_attributes);

  /* USER CODE BEGIN RTOS_THREADS */
  Task_1khzHandle = osThreadNew(Task_1khz_init, NULL, &Task_1khz_attributes);

  Task_100HzHandle = osThreadNew(Task_100Hz_init, NULL, &Task_100Hz_attributes);

  Task_50HzHandle = osThreadNew(Task_50Hz_init, NULL, &Task_50Hz_attributes);

  LedTaskHandle = osThreadNew(LedTask, NULL, &LedTask_attributes);
  osThreadSuspend(LedTaskHandle);

  AircraftLightsTaskHandle = osThreadNew(AircraftLightsTask, NULL, &AircraftLightsTask_attributes);
  osThreadSuspend(AircraftLightsTaskHandle);  // Start suspended, resume after init

  /* USER CODE END RTOS_THREADS */

  /* USER CODE BEGIN RTOS_EVENTS */
  /* Add event groups if required */
  /* USER CODE END RTOS_EVENTS */

}

void StartDefaultTask(void *argument)
{
  /* USER CODE BEGIN StartDefaultTask */
  for(;;) {
    HAL_GPIO_TogglePin(GPIOE, GPIO_PIN_3);
    osDelay(800);
  }
  /* USER CODE END StartDefaultTask */
}

void Task2_init(void *argument)
{
  /* USER CODE BEGIN Task2_init */
  for(;;) {
    HAL_GPIO_TogglePin(GPIOE, GPIO_PIN_5);
    osDelay(500);
  }
  /* USER CODE END Task2_init */
}

/* USER CODE BEGIN Application */

/**
  * @brief Task3: IMU data acquisition
  */
void Task_1khz_init(void *argument)
{
    for(;;) {
//        run_imu();
    	mixer_run();
        osDelay(1);
    }
}

void Task_100Hz_init(void *argument)
{
	for(;;) {

//		run_mag();
		FSiA6B_Print();
		osDelay(100);

	}
}

void Task_50Hz_init(void *argument)
{
	for(;;) {
//		printf("Hello, World\n");
		osDelay(20);
	}
}

void Task_1000Hz_init(void *argument)
{
	for(;;) {
		FailSafe_1000Hz();
		osDelay(1000);
	}
}
/**
  * @brief InitTask: Initializes sensors & WS2812
  */
void InitTask(void *argument)
{
    printf("Starting sensor initialization...\r\n");

    osThreadSuspend(Task_1khzHandle);
    osDelay(200);
    sensor_init();
    printf("Sensor initialization complete.\r\n");

    /* Initialize WS2812 */
    extern TIM_HandleTypeDef htim3;
    WS2812_Init(&htim3);
    printf("WS2812 LED Driver Initialized.\r\n");

    /* Initialize AircraftLights */
    extern TIM_HandleTypeDef htim3;
    AIRCRAFTLIGHTS_Init(&htim3);
    printf("AircraftLights Driver Initialized.\r\n");

    /* Resume other tasks */
    osThreadResume(Task_1khzHandle);
    osThreadResume(LedTaskHandle);
    osThreadResume(AircraftLightsTaskHandle);

    printf("InitTask complete. Deleting InitTask...\r\n");
    osThreadTerminate(InitTaskHandle);
}

/**
  * @brief LedTask: Controls WS2812 LED
  */
void LedTask(void *argument)
{
    for(;;) {

        main_led(0, 0, 255, 0, 0.1, 100);
        osDelay(100);

        main_led(0, 0, 0, 0, 0.1, 100);
        osDelay(100);

    }
}

/**
  * @brief AircraftLightsTask: Controls Aircraft Lights
  */
void AircraftLightsTask(void *argument)
{
    for(;;) {

    	aircraftlights(0, 255, 0, 0, 1.0);  // Red
    	aircraftlights(1, 0, 255, 0, 1.0);  // Green
    	aircraftlights(2, 0, 255, 0, 1.0);  // Green
    	aircraftlights(3, 255, 0, 0, 1.0);  // Red
    	aircraftlights_update();

    	vTaskDelay(pdMS_TO_TICKS(2000));

    	aircraftlights(0, 255, 255, 255, 1.0);
    	aircraftlights(3, 255, 255, 255, 1.0);
    	aircraftlights_update();

    	vTaskDelay(pdMS_TO_TICKS(35));

    	aircraftlights(0, 255, 0, 0, 1.0);
    	aircraftlights(3, 255, 0, 0, 1.0);
    	aircraftlights_update();

    	vTaskDelay(pdMS_TO_TICKS(35));

    	aircraftlights(0, 255, 255, 255, 1.0);
    	aircraftlights(3, 255, 255, 255, 1.0);
    	aircraftlights_update();

    	vTaskDelay(pdMS_TO_TICKS(35));

    	aircraftlights(0, 255, 0, 0, 1.0);
    	aircraftlights(3, 255, 0, 0, 1.0);
    	aircraftlights_update();

    	vTaskDelay(pdMS_TO_TICKS(35));

    }
}

/* USER CODE END Application */
